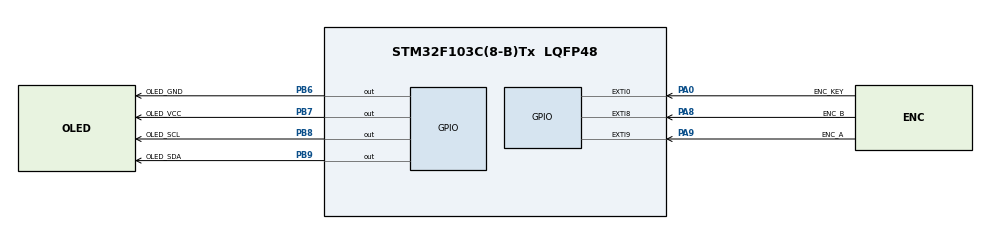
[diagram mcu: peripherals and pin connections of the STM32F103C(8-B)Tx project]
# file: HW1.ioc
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Mcu.Family=STM32F1
Mcu.Name=STM32F103C(8-B)Tx
Mcu.Package=LQFP48
NVIC.PriorityGroup=NVIC_PRIORITYGROUP_4
PA0-WKUP.GPIO_Label=ENC_KEY
PA0-WKUP.GPIO_ModeDefaultEXTI=GPIO_MODE_IT_RISING
PA0-WKUP.GPIO_PuPd=GPIO_PULLUP
PA0-WKUP.Signal=GPXTI0
PA13.Mode=Serial_Wire
PA13.Signal=SYS_JTMS-SWDIO
PA14.Mode=Serial_Wire
PA14.Signal=SYS_JTCK-SWCLK
PA8.GPIO_Label=ENC_B
PA8.GPIO_ModeDefaultEXTI=GPIO_MODE_IT_RISING
PA8.GPIO_PuPd=GPIO_PULLUP
PA8.Signal=GPXTI8
PA9.GPIO_Label=ENC_A
PA9.GPIO_ModeDefaultEXTI=GPIO_MODE_IT_RISING
PA9.GPIO_PuPd=GPIO_PULLUP
PA9.Signal=GPXTI9
PB6.GPIO_Label=OLED_GND
PB6.PinState=GPIO_PIN_RESET
PB6.Signal=GPIO_Output
PB7.GPIO_Label=OLED_VCC
PB7.PinState=GPIO_PIN_SET
PB7.Signal=GPIO_Output
PB8.GPIO_Label=OLED_SCL
PB8.PinState=GPIO_PIN_SET
PB8.Signal=GPIO_Output
PB9.GPIO_Label=OLED_SDA
PB9.PinState=GPIO_PIN_SET
PB9.Signal=GPIO_Output
ProjectManager.HeapSize=0x200
ProjectManager.StackSize=0x400
ProjectManager.TargetToolchain=MDK-ARM V5.32
RCC.APB1Freq_Value=8000000
RCC.APB2Freq_Value=8000000
board=custom

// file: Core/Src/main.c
/* USER CODE BEGIN Header */
/**
  ******************************************************************************
  * @file           : main.c
  * @brief          : Main program body
  ******************************************************************************
  * @attention
  *
  * Copyright (c) 2026 STMicroelectronics.
  * All rights reserved.
  *
  * This software is licensed under terms that can be found in the LICENSE file
  * in the root directory of this software component.
  * If no LICENSE file comes with this software, it is provided AS-IS.
  *
  ******************************************************************************
  */
/* USER CODE END Header */
#include "main.h"
#include "gpio.h"

/* USER CODE BEGIN Includes */
#include "OLED.h"
#include "encoder.h"
/* USER CODE END Includes */

void SystemClock_Config(void);

int main(void)
{

  /* MCU Configuration--------------------------------------------------------*/

  /* Reset of all peripherals, Initializes the Flash interface and the Systick. */
  HAL_Init();

  /* Configure the system clock */
  SystemClock_Config();

  /* Initialize all configured peripherals */
  MX_GPIO_Init();
  /* USER CODE BEGIN 2 */
  Encoder_Init();
  OLED_Init();
  OLED_Clear();
  OLED_ShowString(1,1,"HELLO WORLD");
  /* USER CODE END 2 */

  /* Infinite loop */
  /* USER CODE BEGIN WHILE */
  int32_t  last_step = 0x7FFFFFFF;
  uint32_t last_key  = 0xFFFFFFFF;
//xuanzhuan
  while (1)
  {
    /* USER CODE END WHILE */

    /* USER CODE BEGIN 3 */
    int32_t  step=Encoder_GetStep();
    uint32_t key =Encoder_GetKeyCount();
    if (step!=last_step)
    {
      int32_t deg10=(step%ENC_EDGES_PER_REV)*(3600/ENC_EDGES_PER_REV);

      if (deg10<0)
      {
        deg10+=3600;
      }
      OLED_ShowString(2,1,"ANGLE:");
      OLED_ShowNum(2,7,(uint32_t)(deg10/10),3);
      OLED_ShowChar(2,10,'.');
      OLED_ShowNum(2,11,(uint32_t)(deg10 % 10),1);
      last_step = step;
    }
//ANJIAN
    if (key!=last_key)
    {
      OLED_ShowString(3,1,"COUNT:");
      OLED_ShowNum(3,7,key,3);

      last_key=key;
    }
  }
  /* USER CODE END 3 */
}

void SystemClock_Config(void)
{
  RCC_OscInitTypeDef RCC_OscInitStruct = {0};
  RCC_ClkInitTypeDef RCC_ClkInitStruct = {0};

  /** Initializes the RCC Oscillators according to the specified parameters
  * in the RCC_OscInitTypeDef structure.
  */
  RCC_OscInitStruct.OscillatorType = RCC_OSCILLATORTYPE_HSI;
  RCC_OscInitStruct.HSIState = RCC_HSI_ON;
  RCC_OscInitStruct.HSICalibrationValue = RCC_HSICALIBRATION_DEFAULT;
  RCC_OscInitStruct.PLL.PLLState = RCC_PLL_NONE;
  if (HAL_RCC_OscConfig(&RCC_OscInitStruct) != HAL_OK)
  {
    Error_Handler();
  }

  /** Initializes the CPU, AHB and APB buses clocks
  */
  RCC_ClkInitStruct.ClockType = RCC_CLOCKTYPE_HCLK|RCC_CLOCKTYPE_SYSCLK
                              |RCC_CLOCKTYPE_PCLK1|RCC_CLOCKTYPE_PCLK2;
  RCC_ClkInitStruct.SYSCLKSource = RCC_SYSCLKSOURCE_HSI;
  RCC_ClkInitStruct.AHBCLKDivider = RCC_SYSCLK_DIV1;
  RCC_ClkInitStruct.APB1CLKDivider = RCC_HCLK_DIV1;
  RCC_ClkInitStruct.APB2CLKDivider = RCC_HCLK_DIV1;

  if (HAL_RCC_ClockConfig(&RCC_ClkInitStruct, FLASH_LATENCY_0) != HAL_OK)
  {
    Error_Handler();
  }
}

void Error_Handler(void)
{
  __disable_irq();
  while (1)
  {
  }
}
